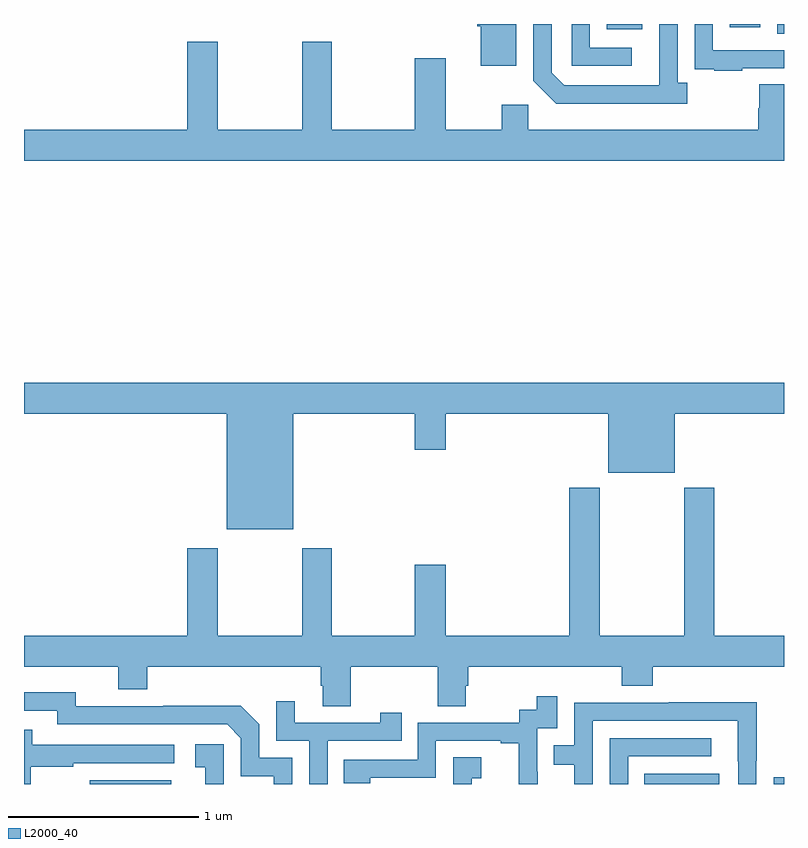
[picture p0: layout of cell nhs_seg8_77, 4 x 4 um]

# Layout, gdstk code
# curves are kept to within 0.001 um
import gdstk
lib = gdstk.Library(unit=1e-6, precision=1e-09)
def R(c, l, rs):  # rectangles x0, y0, x1, y1
    for r in rs: c.add(gdstk.rectangle(r[:2], r[2:], *l))
def P(c, l, *ps):  # polygons
    for p in ps: c.add(gdstk.Polygon(p, *l))
L2000_40 = (2000, 40)

nhs_seg8_77 = lib.new_cell('nhs_seg8_77')
R(nhs_seg8_77, L2000_40, [(115.347,1099.9,115.774,1099.921), (118.264,1099.9,118.66,1099.954), (118.947,1099.9,119,1099.936), (118.964,1103.848,119,1103.9), (118.067,1103.873,118.255,1103.9), (118.715,1103.883,118.876,1103.9)])
P(nhs_seg8_77, L2000_40, [(118.781,1103.667),(119,1103.667),(119,1103.763),(118.626,1103.763),(118.626,1103.9),(118.53,1103.9),(118.53,1103.77),(118.531,1103.77),(118.531,1103.661),(118.633,1103.661),(118.633,1103.655),(118.781,1103.655)],
  [(117.592,1103.9),(117.385,1103.9),(117.385,1103.889),(117.404,1103.889),(117.404,1103.681),(117.592,1103.681)],
  [(118.492,1103.59),(118.44,1103.59),(118.44,1103.9),(118.344,1103.9),(118.343,1103.577),(117.843,1103.577),(117.777,1103.643),(117.777,1103.9),(117.681,1103.9),(117.681,1103.601),(117.802,1103.48),(118.492,1103.48)],
  [(118.198,1103.775),(117.978,1103.775),(117.978,1103.9),(117.882,1103.9),(117.882,1103.679),(118.198,1103.679)],
  [(119,1103.582),(118.87,1103.582),(118.87,1103.457),(118.865,1103.457),(118.865,1103.344),(117.654,1103.344),(117.654,1103.476),(117.515,1103.476),(117.515,1103.344),(117.22,1103.344),(117.22,1103.719),(117.056,1103.719),(117.056,1103.344),(116.619,1103.344),(116.619,1103.806),(116.464,1103.806),(116.464,1103.344),(116.019,1103.344),(116.019,1103.806),(115.859,1103.806),(115.859,1103.344),(115,1103.344),(115,1103.18),(119,1103.18)],
  [(116.416,1101.848),(117.056,1101.848),(117.056,1101.66),(117.22,1101.66),(117.22,1101.848),(118.076,1101.848),(118.076,1101.539),(118.426,1101.539),(118.426,1101.848),(119,1101.848),(119,1102.012),(115,1102.012),(115,1101.848),(116.066,1101.848),(116.066,1101.242),(116.416,1101.242)],
  [(116.721,1100.516),(117.178,1100.516),(117.178,1100.308),(117.325,1100.308),(117.325,1100.418),(117.338,1100.418),(117.338,1100.516),(118.145,1100.516),(118.145,1100.417),(118.31,1100.417),(118.31,1100.516),(119,1100.516),(119,1100.68),(118.634,1100.68),(118.634,1101.46),(118.474,1101.46),(118.474,1100.68),(118.029,1100.68),(118.029,1101.46),(117.869,1101.46),(117.869,1100.68),(117.22,1100.68),(117.22,1101.055),(117.056,1101.055),(117.056,1100.68),(116.619,1100.68),(116.619,1101.142),(116.464,1101.142),(116.464,1100.68),(116.019,1100.68),(116.019,1101.142),(115.859,1101.142),(115.859,1100.68),(115,1100.68),(115,1100.516),(115.496,1100.516),(115.496,1100.399),(115.649,1100.399),(115.649,1100.516),(116.561,1100.516),(116.561,1100.418),(116.573,1100.418),(116.573,1100.308),(116.721,1100.308)],
  [(116.412,1100.037),(116.238,1100.037),(116.238,1100.214),(116.14,1100.312),(115.732,1100.312),(115.732,1100.31),(115.272,1100.31),(115.272,1100.383),(115,1100.383),(115,1100.286),(115.176,1100.286),(115.176,1100.214),(116.07,1100.214),(116.142,1100.142),(116.142,1099.941),(116.315,1099.941),(116.315,1099.9),(116.412,1099.9)],
  [(117.704,1099.964),(117.702,1099.964),(117.702,1100.193),(117.807,1100.193),(117.807,1100.362),(117.699,1100.362),(117.699,1100.292),(117.606,1100.292),(117.606,1100.223),(117.072,1100.223),(117.072,1100.028),(116.683,1100.028),(116.683,1099.905),(116.823,1099.905),(116.823,1099.932),(117.168,1099.932),(117.168,1100.127),(117.509,1100.127),(117.509,1100.115),(117.605,1100.115),(117.605,1099.9),(117.704,1099.9)],
  [(116.598,1100.127),(116.987,1100.127),(116.987,1100.275),(116.876,1100.275),(116.876,1100.223),(116.425,1100.223),(116.425,1100.335),(116.328,1100.335),(116.328,1100.127),(116.502,1100.127),(116.502,1099.9),(116.598,1099.9)],
  [(117.993,1100.232),(118.757,1100.232),(118.757,1100.02),(118.758,1100.02),(118.758,1099.9),(118.854,1099.9),(118.854,1100.023),(118.857,1100.023),(118.857,1100.33),(118.393,1100.33),(118.393,1100.328),(117.897,1100.328),(117.897,1100.103),(117.787,1100.103),(117.787,1100.002),(117.897,1100.002),(117.897,1099.9),(117.993,1099.9)],
  [(115.036,1099.99),(115.259,1099.99),(115.259,1100.01),(115.792,1100.01),(115.792,1100.106),(115.043,1100.106),(115.043,1100.185),(115,1100.185),(115,1099.9),(115.036,1099.9)],
  [(118.179,1100.046),(118.618,1100.046),(118.618,1100.142),(118.083,1100.142),(118.083,1099.9),(118.179,1099.9)],
  [(116.052,1100.11),(115.902,1100.11),(115.902,1099.989),(115.955,1099.989),(115.955,1099.9),(116.052,1099.9)],
  [(117.357,1099.931),(117.406,1099.931),(117.406,1100.041),(117.258,1100.041),(117.258,1099.9),(117.357,1099.9)])

lib.write_gds('nhs_seg8_77.gds')
